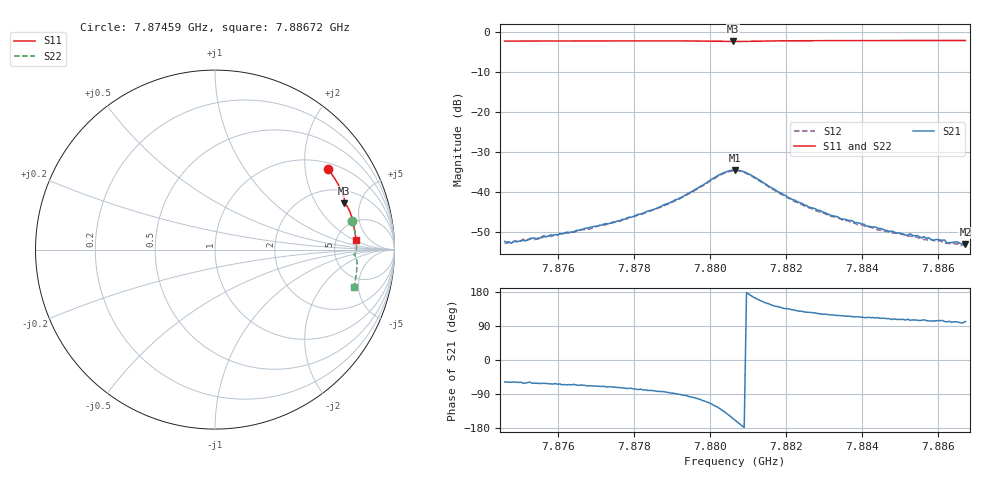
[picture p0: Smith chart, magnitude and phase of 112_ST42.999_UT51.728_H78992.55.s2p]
#  HZ  S  DB  R  50.00
! Rohde & Schwarz Vector Network Analyzer
! Rohde-Schwarz,ZNB20-2Port,1311601062101988,3.16
! Created: UTC 1/12/2023, 6:37:34 PM
! freq[Hz]  db:S11  ang:S11  db:S21  ang:S21  db:S12  ang:S12  db:S22  ang:S22
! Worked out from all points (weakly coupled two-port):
!   201 points, 7.87459 GHz to 7.88672 GHz, reference 50 ohm
!   highest |S21| = -34.49 dB at 7.88066 GHz (marker M1); lowest = -53.0 dB at 7.88672 GHz (marker M2)
!   lowest |S11| = -2.3 dB at 7.8806 GHz (marker M3), VSWR 7.47, Z = 144 + j177 ohm
!   |S11| at or under -10 dB: nowhere
!   |S22| runs from -2.2 to -1.9 dB; largest |S21 - S12| = 0.0012
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7.874591e9  -2.24 35.7  -52.29 -58.0  -52.80 -60.8  -2.16 11.7
7.874773e9  -2.24 35.2  -52.76 -58.6  -52.49 -60.5  -2.15 11.2
7.874833e9  -2.24 35.0  -52.24 -57.9  -52.27 -61.2  -2.14 11.0
7.876653e9  -2.21 30.0  -49.22 -66.2  -49.31 -71.0  -2.10 6.8
7.877623e9  -2.20 27.4  -47.18 -72.6  -47.24 -76.0  -2.07 4.5
7.878654e9  -2.19 24.5  -43.73 -82.8  -43.89 -86.8  -2.05 2.0
7.879261e9  -2.20 22.8  -41.20 -92.2  -41.29 -95.3  -2.07 0.6
7.880231e9  -2.29 20.2  -35.68 -126.8  -35.93 -130.4  -2.16 -1.7
7.880595e9  -2.34 19.7  -34.50 -153.7  -34.68 -156.9  -2.21 -2.0
7.880656e9  -2.34 19.6  -34.49 -158.5  -34.66 -161.6  -2.21 -2.1
7.88102e9  -2.29 19.2  -35.46 173.7  -35.61 170.2  -2.17 -2.3
7.882051e9  -2.17 16.5  -41.27 135.4  -41.42 131.0  -2.02 -4.5
7.882718e9  -2.14 14.7  -44.01 124.5  -44.39 120.6  -1.99 -6.0
7.883446e9  -2.12 12.7  -46.69 116.8  -46.72 113.6  -1.97 -7.7
7.88472e9  -2.11 9.3  -49.79 109.0  -49.93 105.8  -1.95 -10.6
7.885144e9  -2.10 8.2  -50.73 105.4  -50.64 103.2  -1.94 -11.5
7.885266e9  -2.10 7.9  -50.38 104.8  -50.97 102.3  -1.94 -11.8
7.885872e9  -2.09 6.3  -52.00 103.3  -52.07 100.3  -1.93 -13.1
7.886176e9  -2.09 5.5  -51.94 101.5  -52.70 98.8  -1.94 -13.8
7.886236e9  -2.09 5.3  -52.75 100.7  -52.78 97.5  -1.93 -13.9
7.886479e9  -2.08 4.7  -52.39 100.9  -52.93 97.6  -1.93 -14.4
7.886721e9  -2.08 4.1  -53.02 101.7  -53.48 95.1  -1.93 -14.9
